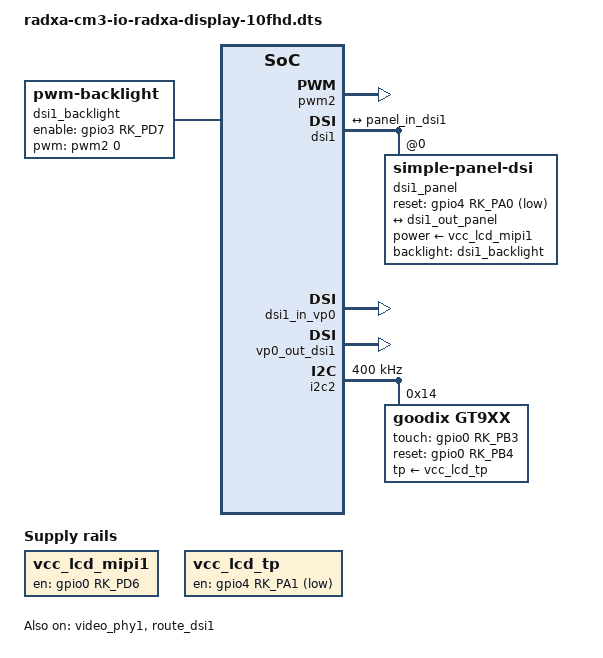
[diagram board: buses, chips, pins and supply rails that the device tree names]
/dts-v1/;
/plugin/;

#include <dt-bindings/gpio/gpio.h>
#include <dt-bindings/pinctrl/rockchip.h>
#include <dt-bindings/interrupt-controller/irq.h>
#include <dt-bindings/display/drm_mipi_dsi.h>

/ {
	metadata {
		title = "Enable Radxa Display 10FHD";
		compatible = "radxa,cm3-io";
		category = "display";
		exclusive = "dsi1", "vp0", "video_phy1", "pwm2";
		description = "Enable Radxa Display 10FHD.";
	};

	fragment@0 {
		target-path = "/";

		__overlay__ {
			vcc_lcd_mipi1: vcc-lcd-mipi1 {
				status = "okay";
				compatible = "regulator-fixed";
				regulator-name = "vcc_lcd_mipi1";
				pinctrl-names = "default";
				pinctrl-0 = <&vcc_mipi>;
				gpio = <&gpio0 RK_PD6 GPIO_ACTIVE_HIGH>;
				enable-active-high;
				regulator-boot-on;
				regulator-state-mem {
					regulator-off-in-suspend;
				};
			};

			vcc_lcd_tp: vcc-lcd-tp {
				status = "okay";
				compatible = "regulator-fixed";
				regulator-name = "vcc_lcd_tp";
				pinctrl-names = "default";
				pinctrl-0 = <&vcc_tp>;
				gpio = <&gpio4 RK_PA1 GPIO_ACTIVE_LOW>;
				enable-active-low;
				regulator-boot-on;
				regulator-state-mem {
					regulator-off-in-suspend;
				};
			};

			dsi1_backlight: dsi1-backlight {
				status = "okay";
				compatible = "pwm-backlight";
				pwms = <&pwm2 0 25000 0>;
				brightness-levels = <
					255 254 253 252 251 250 249 248
					247 246 245 244 243 242 241 240
					239 238 237 236 235 234 233 232
					231 230 229 228 227 226 225 224
					223 222 221 220 219 218 217 216
					215 214 213 212 211 210 209 208
					207 206 205 204 203 202 201 200
					199 198 197 196 195 194 193 192
					191 190 189 188 187 186 185 184
					183 182 181 180 179 178 177 176
					175 174 173 172 171 170 169 168
					167 166 165 164 163 162 161 160
					159 158 157 156 155 154 153 152
					151 150 149 148 147 146 145 144
					143 142 141 140 139 138 137 136
					135 134 133 132 131 130 129 128
					127 126 125 124 123 122 121 120
					119 118 117 116 115 114 113 112
					111 110 109 108 107 106 105 104
					103 102 101 100  99  98  97  96
					95  94  93  92  91  90  89  88
					87  86  85  84  83  82  81  80
					79  78  77  76  75  74  73  72
					71  70  69  68  67  66  65  64
					63  62  61  60  59  58  57  56
					55  54  53  52  51  50  49  48
					47  46  45  44  43  42  41  40
					39  38  38  37  37  36  36  35
					35  34  34  33  33  32  32  31
					31  30  30  29  29  28  28  27
					27  26  26  25  25  24  24  23
					23  22  22  21  21  20  20   0
				>;
				default-brightness-level = <200>;
				enable-gpios = <&gpio3 RK_PD7 GPIO_ACTIVE_HIGH>;
				pinctrl-names = "default";
				pinctrl-0 = <&dsi1_backlight_en>;
			};
		};
	};

	fragment@2 {
		target = <&pwm2>;

		__overlay__ {
			status = "okay";
		};
	};

	fragment@3 {
		target = <&dsi1>;

		__overlay__ {
			status = "okay";

			#address-cells = <1>;
			#size-cells = <0>;

			dsi1_panel: panel@0 {
					status = "okay";
					compatible = "simple-panel-dsi";
					reg = <0>;
					backlight = <&dsi1_backlight>;

					power-supply = <&vcc_lcd_mipi1>;
					reset-gpios = <&gpio4 RK_PA0 GPIO_ACTIVE_LOW>;
					pinctrl-names = "default";
					pinctrl-0 = <&dsi1_lcd_rst_gpio>;

					prepare-delay-ms = <120>;
					reset-delay-ms = <120>;
					init-delay-ms = <120>;
					enable-delay-ms = <100>;
					disable-delay-ms = <120>;
					unprepare-delay-ms = <120>;

					width-mm = <135>;
					height-mm = <217>;

					dsi,flags = <(MIPI_DSI_MODE_VIDEO | MIPI_DSI_MODE_VIDEO_BURST |
						MIPI_DSI_MODE_LPM | MIPI_DSI_MODE_EOT_PACKET)>;
					dsi,format = <MIPI_DSI_FMT_RGB888>;
					dsi,lanes = <4>;

					panel-init-sequence = [
						05 78 01 11
						05 00 01 29
					];

					panel-exit-sequence = [
						05 00 01 28
						05 00 01 10
					];

					display_timings0: display-timings {
						native-mode = <&dsi1_timing>;

						dsi1_timing: timing0 {
							clock-frequency = <160000000>;
							hactive = <1200>;
							vactive = <1920>;

							vback-porch = <25>;
							vfront-porch = <35>;

							hback-porch = <60>;
							hfront-porch = <80>;

							hsync-len = <1>;
							vsync-len = <1>;

							vsync-active = <0>;
							hsync-active = <0>;
							de-active = <0>;
							pixelclk-active = <0>;
						};
					};

					ports {
						#address-cells = <1>;
						#size-cells = <0>;

						port@0 {
							reg = <0>;
							panel_in_dsi1: endpoint {
								remote-endpoint = <&dsi1_out_panel>;
							};
						};
					};
				};

				ports {
					#address-cells = <1>;
					#size-cells = <0>;

					port@1 {
						reg = <1>;
						dsi1_out_panel: endpoint {
							remote-endpoint = <&panel_in_dsi1>;
						};
					};
				};
		};
	};

	fragment@4 {
		target = <&video_phy1>;

		__overlay__ {
			status = "okay";
		};
	};

	fragment@5 {
		target = <&dsi1_in_vp0>;

		__overlay__ {
			status = "okay";
		};
	};

	fragment@6 {
		target = <&dsi1_in_vp1>;

		__overlay__ {
			status = "disabled";
		};
	};

	fragment@7 {
		target = <&vp0_out_dsi1>;

		__overlay__ {
			status = "okay";
		};
	};

	fragment@8 {
		target = <&vp1_out_dsi1>;

		__overlay__ {
			status = "disabled";
		};
	};

	fragment@9 {
		target = <&route_dsi1>;

		__overlay__ {
			status = "okay";
			connect = <&vp0_out_dsi1>;
		};
	};

	fragment@10 {
		target = <&i2c2>;

		__overlay__ {
			status = "okay";
			pinctrl-0 = <&i2c2m1_xfer>;
			clock-frequency = <400000>;
			#address-cells = <1>;
			#size-cells = <0>;

			gt9xx: gt9xx@14 {
				status = "okay";
				compatible = "goodix,gt9xx";
				reg = <0x14>;
				pinctrl-names = "default";
				pinctrl-0 = <&gt9xx_gpio>;
				touch-gpio = <&gpio0 RK_PB3 IRQ_TYPE_LEVEL_HIGH>;
				reset-gpio = <&gpio0 RK_PB4 GPIO_ACTIVE_HIGH>;
				max-x = <1200>;
				max-y = <1920>;
				tp-size = <9271>;
				tp-supply = <&vcc_lcd_tp>;
			};
		};
	};

	fragment@11 {
		target = <&hdmi>;

		__overlay__ {
			status = "disabled";
		};
	};

	fragment@12 {
		target = <&hdmi_in_vp0>;

		__overlay__ {
			status = "disabled";
		};
	};

	fragment@13 {
		target = <&hdmi_sound>;

		__overlay__ {
			status = "disabled";
		};
	};

	fragment@14 {
		target = <&route_hdmi>;

		__overlay__ {
			status = "disabled";
		};
	};

	fragment@15 {
		target = <&pinctrl>;

		__overlay__ {
			lcd-vcc {
				vcc_mipi: vcc-mipi {
					rockchip,pins = <0 RK_PD6 RK_FUNC_GPIO &pcfg_pull_up>;
				};

				vcc_tp: vcc-tp {
					rockchip,pins = <4 RK_PA1 RK_FUNC_GPIO &pcfg_pull_down>;
				};
			};

			dsi1-lcd {
				dsi1_lcd_rst_gpio: dsi1-lcd-rst-gpio {
					rockchip,pins = <4 RK_PA0 RK_FUNC_GPIO &pcfg_pull_up>;
				};

				dsi1_backlight_en: dsi1-backlight-en {
					rockchip,pins = <3 RK_PD7 RK_FUNC_GPIO &pcfg_pull_up>;
				};
			};

			gt9xx {
				gt9xx_gpio: gt9xx-gpio {
					rockchip,pins =
					<0 RK_PB4 RK_FUNC_GPIO &pcfg_pull_up>,
					<0 RK_PB3 RK_FUNC_GPIO &pcfg_pull_none>;
				};
			};
		};
	};

};
